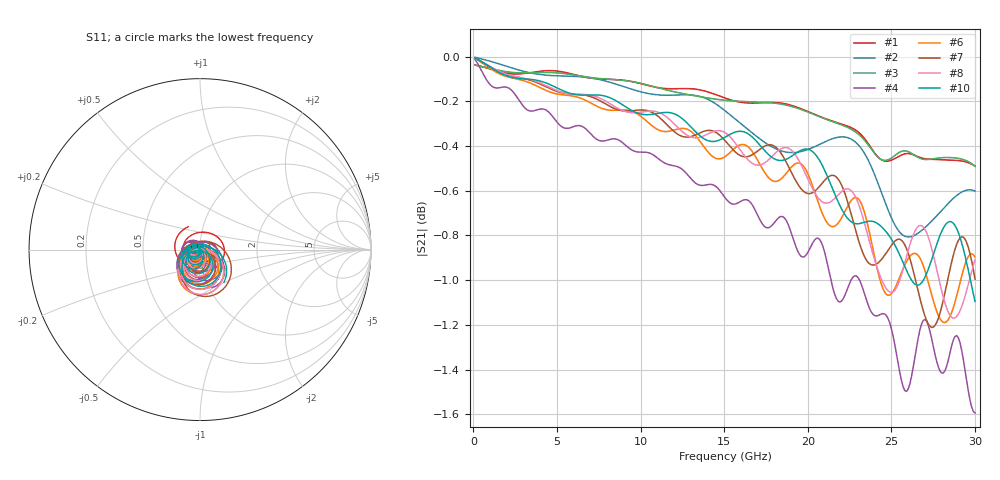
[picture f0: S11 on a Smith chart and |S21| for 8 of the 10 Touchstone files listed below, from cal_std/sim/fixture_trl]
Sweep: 100 MHz to 30 GHz
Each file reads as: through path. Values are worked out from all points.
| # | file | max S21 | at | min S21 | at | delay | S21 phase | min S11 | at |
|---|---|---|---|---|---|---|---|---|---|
| 1 | fixture_DUTPort_TestPort.s2p | -0.04 dB | 100 MHz | -0.5 dB | 30 GHz | 56.5 ps | 57 deg at 15.1 GHz | -31.3 dB | 5 GHz |
| 2 | fixture_test_DUT_sim.s2p | 0.00 dB | 100 MHz | -0.8 dB | 26 GHz | 56.7 ps | 55 deg at 15.1 GHz | -54.8 dB | 13.7 GHz |
| 3 | fixture_TestPort_DUTPort.s2p | -0.04 dB | 100 MHz | -0.5 dB | 30 GHz | 56.5 ps | 59 deg at 15.1 GHz | -29.5 dB | 5.3 GHz |
| 4 | line1.s2p | -0.01 dB | 100 MHz | -1.6 dB | 30 GHz | 232 ps | -160 deg at 15.1 GHz | -52.3 dB | 4.3 GHz |
| 5 | line2.s2p | -0.01 dB | 100 MHz | -1.4 dB | 29.1 GHz | 171 ps | 167 deg at 15.1 GHz | -50.6 dB | 5.4 GHz |
| 6 | line3.s2p | -0.01 dB | 100 MHz | -1.2 dB | 28.2 GHz | 142 ps | -38 deg at 15.1 GHz | -54.3 dB | 3.2 GHz |
| 7 | line4.s2p | -0.01 dB | 100 MHz | -1.2 dB | 27.4 GHz | 127 ps | 39 deg at 15.1 GHz | -51.2 dB | 10.5 GHz |
| 8 | line5.s2p | -0.01 dB | 100 MHz | -1.2 dB | 28.7 GHz | 121 ps | 71 deg at 15.1 GHz | -58.1 dB | 3.6 GHz |
| 9 | line6.s2p | -0.01 dB | 100 MHz | -1.2 dB | 29.4 GHz | 119 ps | 86 deg at 15.1 GHz | -50.6 dB | 3.7 GHz |
| 10 | thru.s2p | -0.01 dB | 100 MHz | -1.1 dB | 30 GHz | 113 ps | 117 deg at 15.1 GHz | -51.1 dB | 4 GHz |
